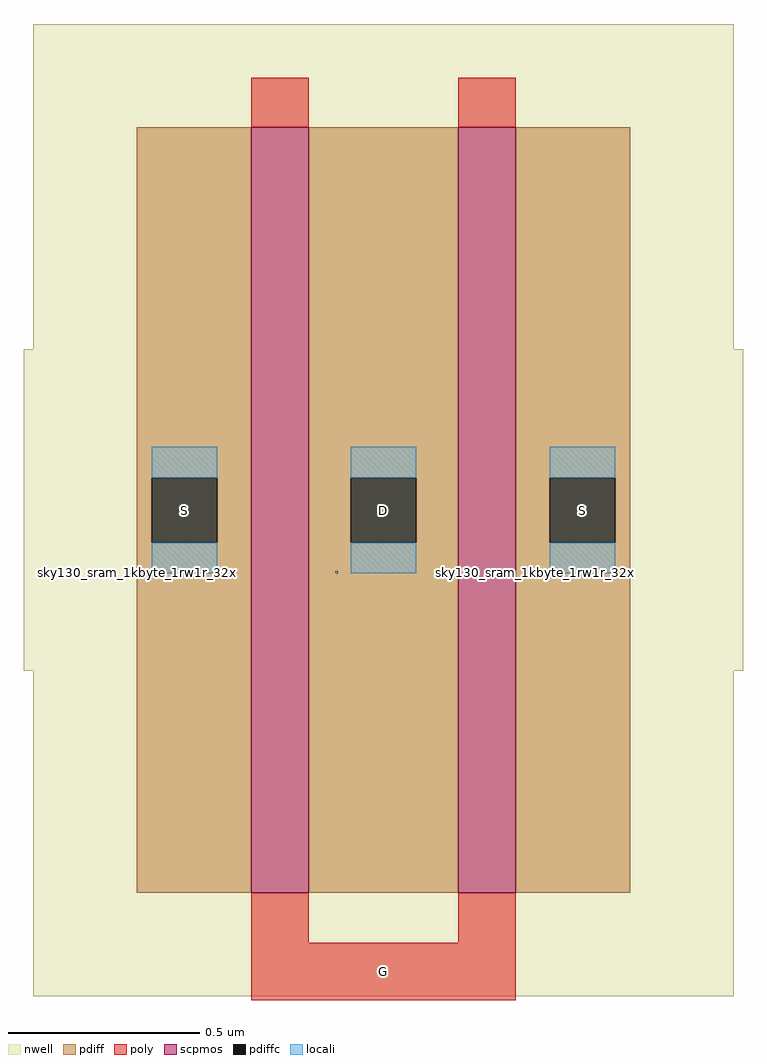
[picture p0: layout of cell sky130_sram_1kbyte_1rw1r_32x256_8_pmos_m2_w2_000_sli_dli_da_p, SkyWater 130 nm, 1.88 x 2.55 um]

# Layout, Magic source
magic
tech sky130A
magscale 1 2
<< nwell >>
rect -54 284 312 454
rect -59 116 317 284
rect -54 -54 312 116
<< scpmos >>
rect 60 0 90 400
rect 168 0 198 400
<< pdiff >>
rect 0 217 60 400
rect 0 183 8 217
rect 42 183 60 217
rect 0 0 60 183
rect 90 217 168 400
rect 90 183 112 217
rect 146 183 168 217
rect 90 0 168 183
rect 198 217 258 400
rect 198 183 216 217
rect 250 183 258 217
rect 198 0 258 183
<< pdiffc >>
rect 8 183 42 217
rect 112 183 146 217
rect 216 183 250 217
<< poly >>
rect 60 400 90 426
rect 168 400 198 426
rect 60 -26 90 0
rect 168 -26 198 0
rect 60 -56 198 -26
<< locali >>
rect 8 217 42 233
rect 8 167 42 183
rect 112 217 146 233
rect 112 167 146 183
rect 216 217 250 233
rect 216 167 250 183
use sky130_sram_1kbyte_1rw1r_32x256_8_contact_12  sky130_sram_1kbyte_1rw1r_32x256_8_contact_12_0
transform 1 0 208 0 1 167
box 0 0 1 1
use sky130_sram_1kbyte_1rw1r_32x256_8_contact_12  sky130_sram_1kbyte_1rw1r_32x256_8_contact_12_1
transform 1 0 104 0 1 167
box 0 0 1 1
use sky130_sram_1kbyte_1rw1r_32x256_8_contact_12  sky130_sram_1kbyte_1rw1r_32x256_8_contact_12_2
transform 1 0 0 0 1 167
box 0 0 1 1
<< labels >>
rlabel locali s 25 200 25 200 4 S
port 1 nsew
rlabel locali s 233 200 233 200 4 S
port 1 nsew
rlabel locali s 129 200 129 200 4 D
port 2 nsew
rlabel poly s 129 -41 129 -41 4 G
port 3 nsew
<< properties >>
string FIXED_BBOX -54 -56 312 116
string GDS_FILE $PDKPATH/libs.ref/sky130_sram_macros/gds/sky130_sram_1kbyte_1rw1r_32x256_8.gds
string GDS_END 160284
string GDS_START 159178
<< end >>
